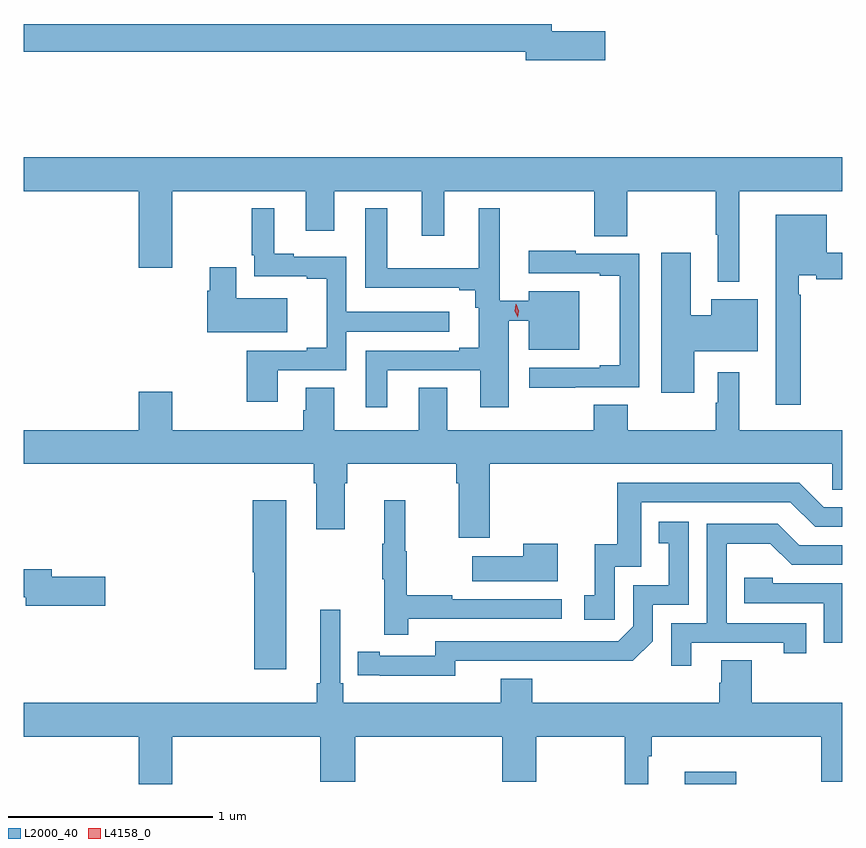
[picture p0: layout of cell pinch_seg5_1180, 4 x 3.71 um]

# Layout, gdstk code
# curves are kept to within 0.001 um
import gdstk
lib = gdstk.Library(unit=1e-6, precision=1e-09)
def R(c, l, rs):  # rectangles x0, y0, x1, y1
    for r in rs: c.add(gdstk.rectangle(r[:2], r[2:], *l))
def P(c, l, *ps):  # polygons
    for p in ps: c.add(gdstk.Polygon(p, *l))
L2000_40 = (2000, 40)
L4158_0 = (4158, 0)

pinch_seg5_1180 = lib.new_cell('pinch_seg5_1180')
R(pinch_seg5_1180, L2000_40, [(539.303,895.156,539.554,895.216)])
P(pinch_seg5_1180, L2000_40, [(538.915,898.832),(538.654,898.832),(538.654,898.868),(536.074,898.868),(536.074,898.732),(538.526,898.732),(538.526,898.69),(538.915,898.69)],
  [(539.569,898.052),(540.074,898.052),(540.074,898.216),(536.074,898.216),(536.074,898.052),(536.636,898.052),(536.636,897.678),(536.8,897.678),(536.8,898.052),(537.452,898.052),(537.452,897.858),(537.592,897.858),(537.592,898.052),(538.019,898.052),(538.019,897.834),(538.129,897.834),(538.129,898.052),(538.861,898.052),(538.861,897.832),(539.022,897.832),(539.022,898.052),(539.455,898.052),(539.455,897.838),(539.465,897.838),(539.465,897.608),(539.569,897.608)],
  [(537.85,897.177),(538.304,897.177),(538.304,896.997),(538.444,896.997),(538.444,897.418),(538.541,897.418),(538.541,897.278),(538.789,897.278),(538.789,897.562),(538.541,897.562),(538.541,897.517),(538.399,897.517),(538.399,897.967),(538.298,897.967),(538.298,897.676),(537.85,897.676),(537.85,897.967),(537.743,897.967),(537.743,897.579),(538.202,897.579),(538.202,897.567),(538.281,897.567),(538.281,897.482),(538.298,897.482),(538.298,897.286),(538.202,897.286),(538.202,897.273),(537.746,897.273),(537.746,896.997),(537.85,896.997)],
  [(537.316,897.177),(537.651,897.177),(537.651,897.366),(538.153,897.366),(538.153,897.462),(537.651,897.462),(537.651,897.732),(537.394,897.732),(537.394,897.745),(537.298,897.745),(537.298,897.967),(537.189,897.967),(537.189,897.739),(537.201,897.739),(537.201,897.636),(537.458,897.636),(537.458,897.624),(537.554,897.624),(537.554,897.286),(537.458,897.286),(537.458,897.273),(537.164,897.273),(537.164,897.024),(537.316,897.024)],
  [(539.869,897.545),(539.861,897.545),(539.861,897.642),(539.947,897.642),(539.947,897.622),(540.074,897.622),(540.074,897.751),(539.998,897.751),(539.998,897.937),(539.747,897.937),(539.747,897.009),(539.869,897.009)],
  [(538.769,897.093),(539.082,897.093),(539.082,897.747),(538.772,897.747),(538.772,897.76),(538.542,897.76),(538.542,897.651),(538.889,897.651),(538.889,897.639),(538.985,897.639),(538.985,897.202),(538.889,897.202),(538.889,897.189),(538.545,897.189),(538.545,897.092),(538.769,897.092)],
  [(539.35,897.269),(539.659,897.269),(539.659,897.523),(539.432,897.523),(539.432,897.445),(539.332,897.445),(539.332,897.751),(539.189,897.751),(539.189,897.066),(539.35,897.066)],
  [(537.361,897.529),(537.112,897.529),(537.112,897.679),(536.984,897.679),(536.984,897.566),(536.972,897.566),(536.972,897.362),(537.361,897.362)],
  [(538.352,896.72),(540.024,896.72),(540.024,896.593),(540.074,896.593),(540.074,896.884),(539.569,896.884),(539.569,897.166),(539.465,897.166),(539.465,897.017),(539.455,897.017),(539.455,896.884),(539.025,896.884),(539.025,897.008),(538.858,897.008),(538.858,896.884),(538.144,896.884),(538.144,897.092),(538.004,897.092),(538.004,896.884),(537.592,896.884),(537.592,897.092),(537.452,897.092),(537.452,896.982),(537.44,896.982),(537.44,896.884),(536.8,896.884),(536.8,897.073),(536.636,897.073),(536.636,896.884),(536.074,896.884),(536.074,896.72),(537.491,896.72),(537.491,896.624),(537.503,896.624),(537.503,896.4),(537.643,896.4),(537.643,896.624),(537.656,896.624),(537.656,896.72),(538.187,896.72),(538.187,896.624),(538.199,896.624),(538.199,896.358),(538.352,896.358)],
  [(538.962,896.217),(539.091,896.217),(539.091,896.532),(539.82,896.532),(539.94,896.412),(540.074,896.412),(540.074,896.508),(539.982,896.508),(539.862,896.628),(538.975,896.628),(538.975,896.326),(538.865,896.326),(538.865,896.079),(538.812,896.079),(538.812,895.959),(538.962,895.959)],
  [(537.953,895.962),(538.702,895.962),(538.702,896.058),(538.169,896.058),(538.169,896.078),(537.946,896.078),(537.946,896.292),(537.938,896.292),(537.938,896.542),(537.836,896.542),(537.836,896.329),(537.825,896.329),(537.825,896.155),(537.836,896.155),(537.836,895.884),(537.953,895.884)],
  [(537.358,896.542),(537.194,896.542),(537.194,896.19),(537.2,896.19),(537.2,895.716),(537.358,895.716)],
  [(538.182,895.758),(539.05,895.757),(539.148,895.854),(539.148,896.031),(539.322,896.031),(539.322,896.437),(539.176,896.437),(539.176,896.331),(539.225,896.331),(539.225,896.127),(539.052,896.127),(539.052,895.926),(538.98,895.854),(538.086,895.854),(538.086,895.782),(537.814,895.782),(537.814,895.802),(537.706,895.802),(537.706,895.686),(538.182,895.685)],
  [(539.335,895.845),(539.786,895.845),(539.786,895.794),(539.897,895.794),(539.897,895.941),(539.508,895.941),(539.508,896.33),(539.722,896.33),(539.826,896.226),(540.074,896.226),(540.074,896.322),(539.863,896.322),(539.758,896.427),(539.412,896.427),(539.412,895.941),(539.238,895.941),(539.238,895.734),(539.335,895.734)],
  [(538.684,896.329),(538.514,896.329),(538.514,896.269),(538.265,896.269),(538.265,896.147),(538.684,896.147)],
  [(536.473,896.168),(536.212,896.168),(536.212,896.204),(536.074,896.204),(536.074,896.068),(536.084,896.068),(536.084,896.026),(536.473,896.026)],
  [(540.074,896.136),(539.733,896.136),(539.733,896.163),(539.593,896.163),(539.593,896.04),(539.982,896.04),(539.982,895.845),(540.074,895.845)],
  [(536.8,895.388),(537.524,895.388),(537.524,895.168),(537.695,895.168),(537.695,895.388),(538.412,895.388),(538.412,895.168),(538.578,895.168),(538.578,895.388),(539.011,895.388),(539.011,895.156),(539.125,895.156),(539.125,895.292),(539.143,895.292),(539.143,895.388),(539.971,895.388),(539.971,895.168),(540.074,895.168),(540.074,895.552),(539.631,895.552),(539.631,895.76),(539.483,895.76),(539.483,895.65),(539.471,895.65),(539.471,895.552),(538.559,895.552),(538.559,895.669),(538.406,895.669),(538.406,895.552),(537.635,895.552),(537.635,895.648),(537.621,895.648),(537.621,896.008),(537.524,896.008),(537.524,895.648),(537.505,895.648),(537.505,895.552),(536.074,895.552),(536.074,895.388),(536.636,895.388),(536.636,895.156),(536.8,895.156)])
P(pinch_seg5_1180, L4158_0, [(538.487,897.435),(538.487,897.435),(538.473,897.465),(538.479,897.498),(538.479,897.498),(538.48,897.498),(538.493,897.468),(538.487,897.435)])

lib.write_gds('pinch_seg5_1180.gds')
